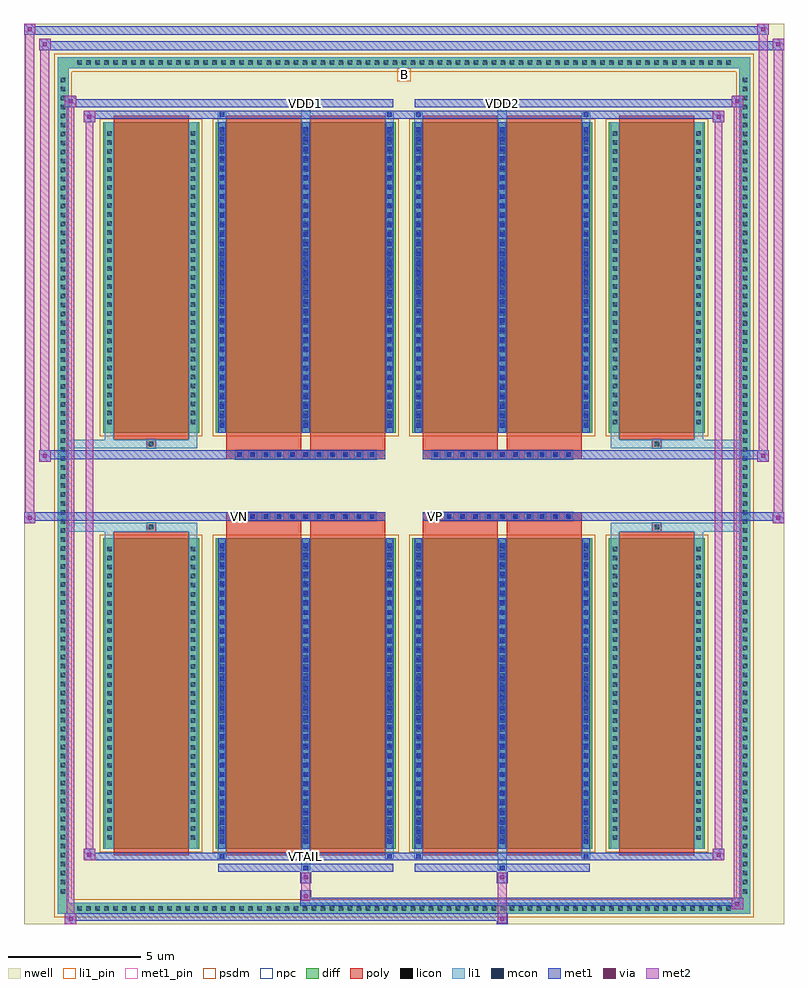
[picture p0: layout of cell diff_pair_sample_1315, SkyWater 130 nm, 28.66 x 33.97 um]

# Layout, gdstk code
import gdstk
lib = gdstk.Library(unit=1e-6, precision=5e-09)
def R(c, l, rs):  # rectangles x0, y0, x1, y1
    for r in rs: c.add(gdstk.rectangle(r[:2], r[2:], *l))
def A(c, l, x, y, w, h, nx, ny, dx, dy):  # array of equal rectangles
    R(c, l, [(x+i*dx, y+j*dy, x+i*dx+w, y+j*dy+h) for i in range(nx) for j in range(ny)])
def P(c, l, *ps):  # polygons
    for p in ps: c.add(gdstk.Polygon(p, *l))
nwell = (64, 20)
diff = (65, 20)
poly = (66, 20)
licon = (66, 44)
li1_pin = (67, 16)
li1 = (67, 20)
mcon = (67, 44)
met1_pin = (68, 16)
met1 = (68, 20)
via = (68, 44)
met2 = (69, 20)
psdm = (94, 20)
npc = (95, 20)

diff_pair_sample_1315 = lib.new_cell('diff_pair_sample_1315')
R(diff_pair_sample_1315, nwell, [(-14.33,-16.55,14.33,17.42), (-11.65,-14.74,-0.01,-0.8), (0.01,-14.74,11.65,-0.8), (-11.65,0.8,-0.01,14.74), (0.01,0.8,11.65,14.74)])
A(diff_pair_sample_1315, diff, -12.445, -16.15, 0.41, 0.41, 73, 2, 0.34, 31.89)
A(diff_pair_sample_1315, diff, -13.06, -15.505, 0.41, 0.41, 1, 91, 0, 0.34)
A(diff_pair_sample_1315, diff, 12.65, -15.505, 0.41, 0.41, 1, 91, 0, 0.34)
R(diff_pair_sample_1315, diff, [(-12.445,-16.15,12.445,-15.74), (-13.06,-15.505,-12.65,15.505), (12.65,-15.505,13.06,15.505), (-11.34,-13.695,-7.73,-1.985), (-7.09,-13.695,-0.32,-1.985), (0.32,-13.695,7.09,-1.985), (7.73,-13.695,11.34,-1.985), (-11.34,1.985,-7.73,13.695), (-7.09,1.985,-0.32,13.695), (0.32,1.985,7.09,13.695), (7.73,1.985,11.34,13.695), (-12.445,15.74,12.445,16.15)])
P(diff_pair_sample_1315, diff, [(13.06,16.15),(-13.06,16.15),(-13.06,-15.74),(-12.65,-15.74),(-12.65,15.74),(12.65,15.74),(12.65,-15.74),(-12.65,-15.74),(-13.06,-15.74),(-13.06,-16.15),(13.06,-16.15)])
A(diff_pair_sample_1315, poly, -6.37, -1.33, 0.33, 0.33, 11, 2, 0.5, 2.33)
A(diff_pair_sample_1315, poly, 1.04, -1.33, 0.33, 0.33, 11, 2, 0.5, 2.33)
R(diff_pair_sample_1315, poly, [(-10.95,-13.945,-8.12,-1.735), (-6.7,-13.945,-3.87,-1.735), (-3.54,-13.945,-0.71,-1.735), (0.71,-13.945,3.54,-1.735), (3.87,-13.945,6.7,-1.735), (8.12,-13.945,10.95,-1.735), (-9.7,-1.735,-9.37,-1.405), (-9.7,-1.735,-9.37,-1.405), (-6.7,-1.735,-3.87,-1.33), (-3.54,-1.735,-0.71,-1.33), (0.71,-1.735,3.54,-1.33), (3.87,-1.735,6.7,-1.33), (9.37,-1.735,9.7,-1.405), (9.37,-1.735,9.7,-1.405), (-6.7,-1.33,-0.71,-1), (0.71,-1.33,6.7,-1), (-6.7,1,-0.71,1.33), (0.71,1,6.7,1.33), (-6.7,1.33,-3.87,1.735), (-3.54,1.33,-0.71,1.735), (0.71,1.33,3.54,1.735), (3.87,1.33,6.7,1.735), (-9.7,1.405,-9.37,1.735), (-9.7,1.405,-9.37,1.735), (9.37,1.405,9.7,1.735), (9.37,1.405,9.7,1.735), (-10.95,1.735,-8.12,13.945), (-6.7,1.735,-3.87,13.945), (-3.54,1.735,-0.71,13.945), (0.71,1.735,3.54,13.945), (3.87,1.735,6.7,13.945), (8.12,1.735,10.95,13.945)])
A(diff_pair_sample_1315, licon, -12.325, -16.03, 0.17, 0.17, 73, 2, 0.34, 31.89)
A(diff_pair_sample_1315, licon, -12.94, -15.385, 0.17, 0.17, 1, 91, 0, 0.34)
A(diff_pair_sample_1315, licon, 12.77, -15.385, 0.17, 0.17, 1, 91, 0, 0.34)
A(diff_pair_sample_1315, licon, -11.2, -13.365, 0.17, 0.17, 1, 33, 0, 0.34)
A(diff_pair_sample_1315, licon, -8.04, -13.365, 0.17, 0.17, 1, 33, 0, 0.34)
A(diff_pair_sample_1315, licon, -6.95, -13.365, 0.17, 0.17, 3, 33, 3.16, 0.34)
A(diff_pair_sample_1315, licon, 0.46, -13.365, 0.17, 0.17, 3, 33, 3.16, 0.34)
A(diff_pair_sample_1315, licon, 7.87, -13.365, 0.17, 0.17, 1, 33, 0, 0.34)
A(diff_pair_sample_1315, licon, 11.03, -13.365, 0.17, 0.17, 1, 33, 0, 0.34)
A(diff_pair_sample_1315, licon, -6.29, -1.25, 0.17, 0.17, 11, 2, 0.5, 2.33)
A(diff_pair_sample_1315, licon, 1.12, -1.25, 0.17, 0.17, 11, 2, 0.5, 2.33)
A(diff_pair_sample_1315, licon, -11.2, 2.315, 0.17, 0.17, 1, 33, 0, 0.34)
A(diff_pair_sample_1315, licon, -8.04, 2.315, 0.17, 0.17, 1, 33, 0, 0.34)
A(diff_pair_sample_1315, licon, -6.95, 2.315, 0.17, 0.17, 3, 33, 3.16, 0.34)
A(diff_pair_sample_1315, licon, 0.46, 2.315, 0.17, 0.17, 3, 33, 3.16, 0.34)
A(diff_pair_sample_1315, licon, 7.87, 2.315, 0.17, 0.17, 1, 33, 0, 0.34)
A(diff_pair_sample_1315, licon, 11.03, 2.315, 0.17, 0.17, 1, 33, 0, 0.34)
R(diff_pair_sample_1315, licon, [(-9.62,-1.655,-9.45,-1.485), (9.45,-1.655,9.62,-1.485), (-9.62,1.485,-9.45,1.655), (9.45,1.485,9.62,1.655)])
R(diff_pair_sample_1315, li1_pin, [(-0.25,15.24,0.25,15.74)])
A(diff_pair_sample_1315, li1, -12.405, -16.11, 0.33, 0.33, 73, 2, 0.34, 31.89)
A(diff_pair_sample_1315, li1, -13.02, -15.465, 0.33, 0.33, 1, 91, 0, 0.34)
A(diff_pair_sample_1315, li1, 12.69, -15.465, 0.33, 0.33, 1, 91, 0, 0.34)
A(diff_pair_sample_1315, li1, -7.03, -13.695, 0.33, 11.71, 3, 2, 3.16, 15.68)
A(diff_pair_sample_1315, li1, 0.38, -13.695, 0.33, 11.71, 3, 2, 3.16, 15.68)
A(diff_pair_sample_1315, li1, -6.95, -13.505, 0.17, 0.17, 3, 32, 3.16, 0.36)
A(diff_pair_sample_1315, li1, -6.95, -13.505, 0.17, 11.33, 3, 2, 3.16, 15.68)
A(diff_pair_sample_1315, li1, 0.46, -13.505, 0.17, 0.17, 3, 32, 3.16, 0.36)
A(diff_pair_sample_1315, li1, 0.46, -13.505, 0.17, 11.33, 3, 2, 3.16, 15.68)
A(diff_pair_sample_1315, li1, -11.28, -13.445, 0.33, 0.33, 1, 33, 0, 0.34)
A(diff_pair_sample_1315, li1, -8.12, -13.445, 0.33, 0.33, 1, 33, 0, 0.34)
A(diff_pair_sample_1315, li1, -7.03, -13.445, 0.33, 0.33, 3, 33, 3.16, 0.34)
A(diff_pair_sample_1315, li1, 0.38, -13.445, 0.33, 0.33, 3, 33, 3.16, 0.34)
A(diff_pair_sample_1315, li1, 7.79, -13.445, 0.33, 0.33, 1, 33, 0, 0.34)
A(diff_pair_sample_1315, li1, 10.95, -13.445, 0.33, 0.33, 1, 33, 0, 0.34)
A(diff_pair_sample_1315, li1, -6.37, -1.33, 0.33, 0.33, 11, 2, 0.5, 2.33)
A(diff_pair_sample_1315, li1, 1.04, -1.33, 0.33, 0.33, 11, 2, 0.5, 2.33)
A(diff_pair_sample_1315, li1, -6.95, 2.175, 0.17, 0.17, 3, 32, 3.16, 0.36)
A(diff_pair_sample_1315, li1, 0.46, 2.175, 0.17, 0.17, 3, 32, 3.16, 0.36)
A(diff_pair_sample_1315, li1, -11.28, 2.235, 0.33, 0.33, 1, 33, 0, 0.34)
A(diff_pair_sample_1315, li1, -8.12, 2.235, 0.33, 0.33, 1, 33, 0, 0.34)
A(diff_pair_sample_1315, li1, -7.03, 2.235, 0.33, 0.33, 3, 33, 3.16, 0.34)
A(diff_pair_sample_1315, li1, 0.38, 2.235, 0.33, 0.33, 3, 33, 3.16, 0.34)
A(diff_pair_sample_1315, li1, 7.79, 2.235, 0.33, 0.33, 1, 33, 0, 0.34)
A(diff_pair_sample_1315, li1, 10.95, 2.235, 0.33, 0.33, 1, 33, 0, 0.34)
R(diff_pair_sample_1315, li1, [(-13.06,-16.15,-12.65,-15.74), (-13.06,-16.15,-12.65,-15.74), (-12.65,-16.15,12.65,-15.74), (12.65,-16.15,13.06,-15.74), (12.65,-16.15,13.06,-15.74), (-13.06,-15.74,-12.65,15.74), (12.65,-15.74,13.06,15.74), (-3.87,-14.5,-3.54,-13.695), (-3.79,-14.5,-3.62,-14.33), (3.54,-14.5,3.87,-13.695), (3.62,-14.5,3.79,-14.33), (-7.03,-14.07,-6.7,-13.695), (-6.95,-14.07,-6.78,-13.9), (-0.71,-14.07,-0.38,-13.695), (-0.63,-14.07,-0.46,-13.9), (0.38,-14.07,0.71,-13.695), (0.46,-14.07,0.63,-13.9), (6.7,-14.07,7.03,-13.695), (6.78,-14.07,6.95,-13.9), (-11.28,-13.695,-10.95,-1.985), (-8.12,-13.695,-7.79,-1.985), (7.79,-13.695,8.12,-1.985), (10.95,-13.695,11.28,-1.985), (-11.28,-1.985,-10.95,-1.405), (-8.12,-1.985,-7.79,-1.405), (7.79,-1.985,8.12,-1.405), (10.95,-1.985,11.28,-1.405), (-13.06,-1.735,-9.7,-1.405), (-11.28,-1.735,-9.7,-1.405), (-9.7,-1.735,-9.37,-1.405), (-9.37,-1.735,-7.79,-1.405), (7.79,-1.735,9.37,-1.405), (9.37,-1.735,9.7,-1.405), (9.37,-1.735,13.06,-1.405), (9.7,-1.735,11.28,-1.405), (-13.06,1.405,-9.7,1.735), (-11.28,1.405,-9.7,1.735), (-11.28,1.405,-10.95,1.985), (-9.7,1.405,-9.37,1.735), (-9.37,1.405,-7.79,1.735), (-8.12,1.405,-7.79,1.985), (7.79,1.405,9.37,1.735), (7.79,1.405,8.12,1.985), (9.37,1.405,9.7,1.735), (9.37,1.405,13.06,1.735), (9.7,1.405,11.28,1.735), (10.95,1.405,11.28,1.985), (-11.28,1.985,-10.95,13.695), (-8.12,1.985,-7.79,13.695), (7.79,1.985,8.12,13.695), (10.95,1.985,11.28,13.695), (-7.03,13.695,-6.7,14.07), (-3.87,13.695,-3.54,14.5), (-0.71,13.695,-0.38,14.07), (0.38,13.695,0.71,14.07), (3.54,13.695,3.87,14.5), (6.7,13.695,7.03,14.07), (-6.95,13.9,-6.78,14.07), (-0.63,13.9,-0.46,14.07), (0.46,13.9,0.63,14.07), (6.78,13.9,6.95,14.07), (-3.79,14.33,-3.62,14.5), (3.62,14.33,3.79,14.5), (-13.06,15.74,-12.65,16.15), (-13.06,15.74,-12.65,16.15), (-12.65,15.74,12.65,16.15), (12.65,15.74,13.06,16.15), (12.65,15.74,13.06,16.15)])
A(diff_pair_sample_1315, mcon, -6.95, -13.505, 0.17, 0.17, 3, 32, 3.16, 0.36)
A(diff_pair_sample_1315, mcon, 0.46, -13.505, 0.17, 0.17, 3, 32, 3.16, 0.36)
A(diff_pair_sample_1315, mcon, -6.29, -1.25, 0.17, 0.17, 11, 2, 0.5, 2.33)
A(diff_pair_sample_1315, mcon, 1.12, -1.25, 0.17, 0.17, 11, 2, 0.5, 2.33)
A(diff_pair_sample_1315, mcon, -6.95, 2.175, 0.17, 0.17, 3, 32, 3.16, 0.36)
A(diff_pair_sample_1315, mcon, 0.46, 2.175, 0.17, 0.17, 3, 32, 3.16, 0.36)
R(diff_pair_sample_1315, mcon, [(-3.79,-14.5,-3.62,-14.33), (3.62,-14.5,3.79,-14.33), (-6.95,-14.07,-6.78,-13.9), (-0.63,-14.07,-0.46,-13.9), (0.46,-14.07,0.63,-13.9), (6.78,-14.07,6.95,-13.9), (-6.95,13.9,-6.78,14.07), (-0.63,13.9,-0.46,14.07), (0.46,13.9,0.63,14.07), (6.78,13.9,6.95,14.07), (-3.79,14.33,-3.62,14.5), (3.62,14.33,3.79,14.5)])
R(diff_pair_sample_1315, met1_pin, [(-3.84,-14.11,-3.57,-13.84), (-6.34,-1.29,-6.07,-1.02), (1.07,-1.29,1.34,-1.02), (-3.84,14.29,-3.57,14.56), (3.57,14.29,3.84,14.56)])
A(diff_pair_sample_1315, met1, -7.01, -13.695, 0.29, 11.71, 3, 2, 3.16, 15.68)
A(diff_pair_sample_1315, met1, 0.4, -13.695, 0.29, 11.71, 3, 2, 3.16, 15.68)
A(diff_pair_sample_1315, met1, -7.01, -13.565, 0.29, 0.29, 3, 32, 3.16, 0.36)
A(diff_pair_sample_1315, met1, 0.4, -13.565, 0.29, 0.29, 3, 32, 3.16, 0.36)
A(diff_pair_sample_1315, met1, -6.35, -1.31, 0.29, 0.29, 11, 2, 0.5, 2.33)
A(diff_pair_sample_1315, met1, 1.06, -1.31, 0.29, 0.29, 11, 2, 0.5, 2.33)
A(diff_pair_sample_1315, met1, -7.01, 2.115, 0.29, 0.29, 3, 32, 3.16, 0.36)
A(diff_pair_sample_1315, met1, 0.4, 2.115, 0.29, 0.29, 3, 32, 3.16, 0.36)
R(diff_pair_sample_1315, met1, [(-12.79,-16.55,-12.36,-16.12), (3.49,-16.55,3.92,-16.12), (-12.79,-16.41,3.92,-16.12), (12.36,-15.98,12.79,-15.55), (-3.92,-15.84,12.79,-15.55), (-3.92,-15.7,-3.49,-15.27), (-3.92,-14.99,-3.49,-14.56), (3.49,-14.99,3.92,-14.56), (-7.01,-14.56,-0.4,-14.27), (-3.85,-14.56,-3.56,-14.27), (0.4,-14.56,7.01,-14.27), (3.56,-14.56,3.85,-14.27), (-12.08,-14.13,-11.65,-13.7), (-12.08,-14.13,-7.01,-13.84), (-7.01,-14.13,-6.72,-13.84), (-7.01,-14.13,-0.4,-13.84), (-0.69,-14.13,-0.4,-13.84), (-0.4,-14.13,0.4,-13.84), (0.4,-14.13,0.69,-13.84), (0.4,-14.13,7.01,-13.84), (6.72,-14.13,7.01,-13.84), (7.01,-14.13,12.08,-13.84), (11.65,-14.13,12.08,-13.7), (-14.33,-1.43,-13.9,-1), (13.9,-1.43,14.33,-1), (-14.33,-1.33,-0.71,-1), (-6.7,-1.33,-0.71,-1), (0.71,-1.33,6.7,-1), (0.71,-1.33,14.33,-1), (-13.76,0.9,-13.33,1.33), (13.33,0.9,13.76,1.33), (-13.76,1,-6.7,1.33), (-6.7,1,-0.71,1.33), (0.71,1,6.7,1.33), (6.7,1,13.76,1.33), (-12.08,13.7,-11.65,14.13), (11.65,13.7,12.08,14.13), (-12.08,13.84,-7.01,14.13), (-7.01,13.84,-6.72,14.13), (-7.01,13.84,-0.4,14.13), (-0.69,13.84,-0.4,14.13), (-0.4,13.84,0.4,14.13), (0.4,13.84,0.69,14.13), (0.4,13.84,7.01,14.13), (6.72,13.84,7.01,14.13), (7.01,13.84,12.08,14.13), (-12.79,14.27,-12.36,14.7), (-12.79,14.27,-7.01,14.56), (-7.01,14.27,-0.4,14.56), (-3.85,14.27,-3.56,14.56), (0.4,14.27,7.01,14.56), (3.56,14.27,3.85,14.56), (7.01,14.27,12.79,14.56), (12.36,14.27,12.79,14.7), (-13.76,16.42,-13.33,16.85), (-13.76,16.42,-11.65,16.75), (-11.65,16.42,11.65,16.75), (11.65,16.42,14.33,16.75), (13.9,16.42,14.33,16.85), (-14.33,16.99,-13.9,17.42), (-14.33,16.99,-11.65,17.32), (-11.65,16.99,11.65,17.32), (11.65,16.99,13.76,17.32), (13.33,16.99,13.76,17.42)])
R(diff_pair_sample_1315, via, [(-12.65,-16.41,-12.5,-16.26), (3.63,-16.41,3.78,-16.26), (12.5,-15.84,12.65,-15.69), (-3.78,-15.56,-3.63,-15.41), (-3.78,-14.85,-3.63,-14.7), (3.63,-14.85,3.78,-14.7), (-11.94,-13.99,-11.79,-13.84), (11.79,-13.99,11.94,-13.84), (-14.19,-1.29,-14.04,-1.14), (14.04,-1.29,14.19,-1.14), (-13.62,1.04,-13.47,1.19), (13.47,1.04,13.62,1.19), (-11.94,13.84,-11.79,13.99), (11.79,13.84,11.94,13.99), (-12.65,14.41,-12.5,14.56), (12.5,14.41,12.65,14.56), (-13.62,16.56,-13.47,16.71), (14.04,16.56,14.19,16.71), (-14.19,17.13,-14.04,17.28), (13.47,17.13,13.62,17.28)])
R(diff_pair_sample_1315, met2, [(-12.79,-16.55,-12.36,-16.12), (-12.72,-16.55,-12.43,14.7), (-12.43,-16.55,-12.36,-16.12), (-12.74,-16.5,-12.41,-16.17), (3.54,-16.5,3.87,-16.17), (3.54,-16.17,3.87,-14.94), (12.36,-15.98,12.79,-15.55), (12.43,-15.98,12.72,14.7), (12.72,-15.98,12.79,-15.55), (12.41,-15.93,12.74,-15.6), (-3.87,-15.65,-3.54,-15.32), (-3.87,-15.32,-3.54,-14.94), (-3.87,-14.94,-3.54,-14.61), (3.54,-14.94,3.87,-14.61), (-12.08,-14.13,-11.65,-13.7), (-12.01,-14.13,-11.72,14.13), (-11.72,-14.13,-11.65,-13.7), (11.65,-14.13,12.08,-13.7), (11.72,-14.13,12.01,14.13), (12.01,-14.13,12.08,-13.7), (-12.03,-14.08,-11.7,-13.75), (11.7,-14.08,12.03,-13.75), (-14.33,-1.43,-13.9,-1), (-14.28,-1.43,-13.95,17.42), (-13.95,-1.43,-13.9,-1), (13.9,-1.43,14.33,-1), (13.95,-1.43,14.28,16.85), (14.28,-1.43,14.33,-1), (-14.28,-1.38,-13.95,-1.05), (13.95,-1.38,14.28,-1.05), (-13.76,0.9,-13.33,1.33), (-13.71,0.9,-13.38,16.85), (-13.38,0.9,-13.33,1.33), (13.33,0.9,13.76,1.33), (13.38,0.9,13.71,17.42), (13.71,0.9,13.76,1.33), (-13.71,0.95,-13.38,1.28), (13.38,0.95,13.71,1.28), (-12.08,13.7,-11.65,14.13), (-11.72,13.7,-11.65,14.13), (11.65,13.7,12.08,14.13), (12.01,13.7,12.08,14.13), (-12.03,13.75,-11.7,14.08), (11.7,13.75,12.03,14.08), (-12.79,14.27,-12.36,14.7), (-12.43,14.27,-12.36,14.7), (12.36,14.27,12.79,14.7), (12.72,14.27,12.79,14.7), (-12.74,14.32,-12.41,14.65), (12.41,14.32,12.74,14.65), (-13.76,16.42,-13.33,16.85), (-13.38,16.42,-13.33,16.85), (13.9,16.42,14.33,16.85), (14.28,16.42,14.33,16.85), (-13.71,16.47,-13.38,16.8), (13.95,16.47,14.28,16.8), (-14.33,16.99,-13.9,17.42), (-13.95,16.99,-13.9,17.42), (13.33,16.99,13.76,17.42), (13.71,16.99,13.76,17.42), (-14.28,17.04,-13.95,17.37), (13.38,17.04,13.71,17.37)])
R(diff_pair_sample_1315, psdm, [(-11.47,-13.825,-7.6,-1.855), (-7.22,-13.825,-0.19,-1.855), (0.19,-13.825,7.22,-1.855), (7.6,-13.825,11.47,-1.855), (-11.47,1.855,-7.6,13.825), (-7.22,1.855,-0.19,13.825), (0.19,1.855,7.22,13.825), (7.6,1.855,11.47,13.825)])
P(diff_pair_sample_1315, psdm, [(13.19,16.28),(-13.19,16.28),(-13.19,-15.61),(-12.52,-15.61),(-12.52,15.61),(12.52,15.61),(12.52,-15.61),(-12.52,-15.61),(-13.19,-15.61),(-13.19,-16.28),(13.19,-16.28)])
A(diff_pair_sample_1315, npc, -6.39, -1.35, 0.37, 0.37, 11, 2, 0.5, 2.33)
A(diff_pair_sample_1315, npc, 1.02, -1.35, 0.37, 0.37, 11, 2, 0.5, 2.33)
R(diff_pair_sample_1315, npc, [(-9.72,-1.755,-9.35,-1.385), (9.35,-1.755,9.72,-1.385), (-6.39,-1.35,-5.52,-0.98), (-6.39,-1.35,-5.52,-0.98), (-5.89,-1.35,-5.02,-0.98), (-5.89,-1.35,-5.02,-0.98), (-5.39,-1.35,-4.52,-0.98), (-5.39,-1.35,-4.52,-0.98), (-4.89,-1.35,-4.02,-0.98), (-4.89,-1.35,-4.02,-0.98), (-4.39,-1.35,-3.52,-0.98), (-4.39,-1.35,-3.52,-0.98), (-3.89,-1.35,-3.02,-0.98), (-3.89,-1.35,-3.02,-0.98), (-3.39,-1.35,-2.52,-0.98), (-3.39,-1.35,-2.52,-0.98), (-2.89,-1.35,-2.02,-0.98), (-2.89,-1.35,-2.02,-0.98), (-2.39,-1.35,-1.52,-0.98), (-2.39,-1.35,-1.52,-0.98), (-1.89,-1.35,-1.02,-0.98), (-1.89,-1.35,-1.02,-0.98), (1.02,-1.35,1.89,-0.98), (1.02,-1.35,1.89,-0.98), (1.52,-1.35,2.39,-0.98), (1.52,-1.35,2.39,-0.98), (2.02,-1.35,2.89,-0.98), (2.02,-1.35,2.89,-0.98), (2.52,-1.35,3.39,-0.98), (2.52,-1.35,3.39,-0.98), (3.02,-1.35,3.89,-0.98), (3.02,-1.35,3.89,-0.98), (3.52,-1.35,4.39,-0.98), (3.52,-1.35,4.39,-0.98), (4.02,-1.35,4.89,-0.98), (4.02,-1.35,4.89,-0.98), (4.52,-1.35,5.39,-0.98), (4.52,-1.35,5.39,-0.98), (5.02,-1.35,5.89,-0.98), (5.02,-1.35,5.89,-0.98), (5.52,-1.35,6.39,-0.98), (5.52,-1.35,6.39,-0.98), (-6.39,0.98,-5.52,1.35), (-6.39,0.98,-5.52,1.35), (-5.89,0.98,-5.02,1.35), (-5.89,0.98,-5.02,1.35), (-5.39,0.98,-4.52,1.35), (-5.39,0.98,-4.52,1.35), (-4.89,0.98,-4.02,1.35), (-4.89,0.98,-4.02,1.35), (-4.39,0.98,-3.52,1.35), (-4.39,0.98,-3.52,1.35), (-3.89,0.98,-3.02,1.35), (-3.89,0.98,-3.02,1.35), (-3.39,0.98,-2.52,1.35), (-3.39,0.98,-2.52,1.35), (-2.89,0.98,-2.02,1.35), (-2.89,0.98,-2.02,1.35), (-2.39,0.98,-1.52,1.35), (-2.39,0.98,-1.52,1.35), (-1.89,0.98,-1.02,1.35), (-1.89,0.98,-1.02,1.35), (1.02,0.98,1.89,1.35), (1.02,0.98,1.89,1.35), (1.52,0.98,2.39,1.35), (1.52,0.98,2.39,1.35), (2.02,0.98,2.89,1.35), (2.02,0.98,2.89,1.35), (2.52,0.98,3.39,1.35), (2.52,0.98,3.39,1.35), (3.02,0.98,3.89,1.35), (3.02,0.98,3.89,1.35), (3.52,0.98,4.39,1.35), (3.52,0.98,4.39,1.35), (4.02,0.98,4.89,1.35), (4.02,0.98,4.89,1.35), (4.52,0.98,5.39,1.35), (4.52,0.98,5.39,1.35), (5.02,0.98,5.89,1.35), (5.02,0.98,5.89,1.35), (5.52,0.98,6.39,1.35), (5.52,0.98,6.39,1.35), (-9.72,1.385,-9.35,1.755), (9.35,1.385,9.72,1.755)])
diff_pair_sample_1315.add(gdstk.Label('VTAIL', (-3.705,-13.975), layer=68, texttype=5))
diff_pair_sample_1315.add(gdstk.Label('VN', (-6.205,-1.155), layer=68, texttype=5))
diff_pair_sample_1315.add(gdstk.Label('VP', (1.205,-1.155), layer=68, texttype=5))
diff_pair_sample_1315.add(gdstk.Label('B', (0,15.49), layer=67, texttype=5))
diff_pair_sample_1315.add(gdstk.Label('VDD2', (3.705,14.425), layer=68, texttype=5))
diff_pair_sample_1315.add(gdstk.Label('VDD1', (-3.705,14.425), layer=68, texttype=5))

lib.write_gds('diff_pair_sample_1315.gds')
